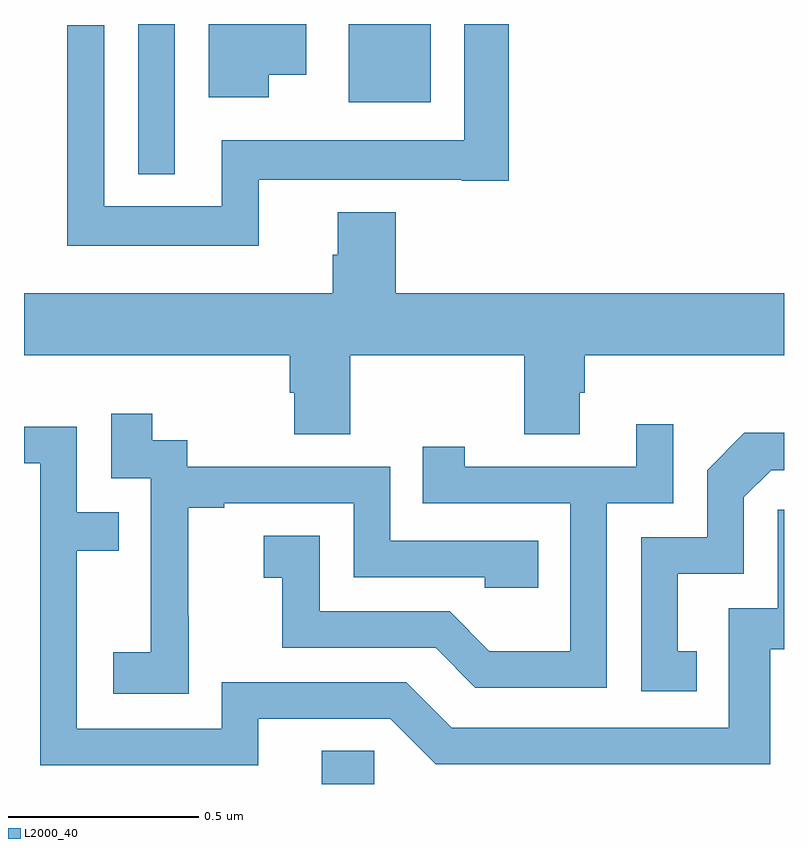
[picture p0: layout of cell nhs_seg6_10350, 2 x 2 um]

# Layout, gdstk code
import gdstk
lib = gdstk.Library(unit=1e-6, precision=1e-09)
def R(c, l, rs):  # rectangles x0, y0, x1, y1
    for r in rs: c.add(gdstk.rectangle(r[:2], r[2:], *l))
def P(c, l, *ps):  # polygons
    for p in ps: c.add(gdstk.Polygon(p, *l))
L2000_40 = (2000, 40)

nhs_seg6_10350 = lib.new_cell('nhs_seg6_10350')
R(nhs_seg6_10350, L2000_40, [(245.783,987.5,245.922,987.587), (245.301,989.105,245.397,989.5), (245.855,989.294,246.07,989.5)])
P(nhs_seg6_10350, L2000_40, [(245.644,989.366),(245.743,989.366),(245.743,989.5),(245.486,989.5),(245.486,989.307),(245.644,989.307)],
  [(245.618,989.09),(246.152,989.09),(246.152,989.088),(246.275,989.088),(246.275,989.5),(246.159,989.5),(246.159,989.194),(245.52,989.194),(245.52,989.02),(245.211,989.02),(245.211,989.497),(245.114,989.497),(245.114,988.916),(245.618,988.916)],
  [(245,988.628),(245.699,988.628),(245.699,988.53),(245.711,988.53),(245.711,988.42),(245.859,988.42),(245.859,988.628),(246.316,988.628),(246.316,988.42),(246.463,988.42),(246.463,988.53),(246.476,988.53),(246.476,988.628),(247,988.628),(247,988.792),(245.978,988.792),(245.978,989.005),(245.825,989.005),(245.825,988.893),(245.813,988.893),(245.813,988.792),(245,988.792)],
  [(245.433,987.943),(245.432,987.943),(245.432,988.227),(245.527,988.227),(245.527,988.239),(245.868,988.239),(245.868,988.044),(246.213,988.044),(246.213,988.017),(246.353,988.017),(246.353,988.14),(245.964,988.14),(245.964,988.335),(245.43,988.335),(245.43,988.404),(245.338,988.404),(245.338,988.474),(245.229,988.474),(245.229,988.305),(245.334,988.305),(245.334,988.076),(245.333,988.076),(245.333,987.847),(245.235,987.847),(245.235,987.737),(245.433,987.737)],
  [(246.534,988.239),(246.708,988.239),(246.708,988.447),(246.611,988.447),(246.611,988.335),(246.16,988.335),(246.16,988.387),(246.049,988.387),(246.049,988.239),(246.438,988.239),(246.438,987.85),(246.224,987.85),(246.12,987.954),(245.778,987.954),(245.778,988.153),(245.631,988.153),(245.631,988.043),(245.68,988.043),(245.68,987.858),(246.083,987.858),(246.188,987.753),(246.534,987.753)],
  [(245.617,987.672),(245.964,987.672),(246.084,987.552),(246.964,987.552),(246.964,987.855),(247,987.855),(247,988.222),(246.984,988.222),(246.984,987.963),(246.855,987.963),(246.855,987.648),(246.126,987.648),(246.006,987.768),(245.52,987.768),(245.52,987.645),(245.139,987.645),(245.139,988.114),(245.249,988.114),(245.249,988.215),(245.139,988.215),(245.139,988.44),(245,988.44),(245,988.344),(245.043,988.344),(245.043,987.549),(245.617,987.549)],
  [(246.77,987.849),(246.721,987.849),(246.721,988.053),(246.894,988.053),(246.894,988.254),(246.966,988.326),(247,988.326),(247,988.424),(246.896,988.424),(246.798,988.326),(246.798,988.149),(246.624,988.149),(246.624,987.744),(246.77,987.744)])

lib.write_gds('nhs_seg6_10350.gds')
